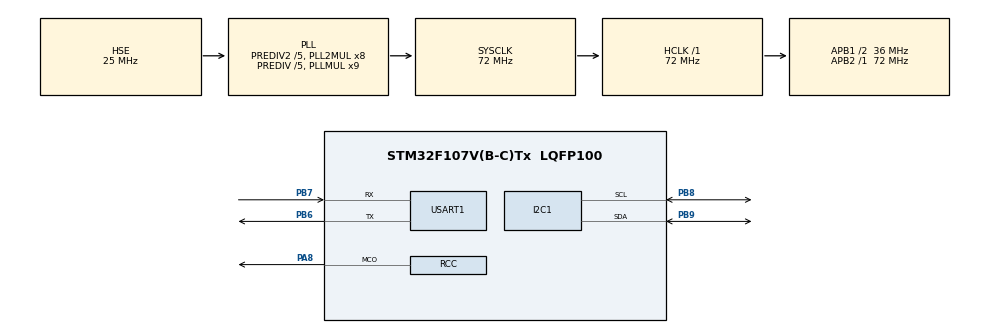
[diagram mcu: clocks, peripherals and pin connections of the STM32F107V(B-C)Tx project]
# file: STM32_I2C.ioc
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Mcu.Family=STM32F1
Mcu.Name=STM32F107V(B-C)Tx
Mcu.Package=LQFP100
NVIC.PriorityGroup=NVIC_PRIORITYGROUP_4
NVIC.USART1_IRQn=true\:0\:0\:false\:false\:true\:true\:true\:true
OSC_IN.Mode=HSE-External-Oscillator
OSC_IN.Signal=RCC_OSC_IN
OSC_OUT.Mode=HSE-External-Oscillator
OSC_OUT.Signal=RCC_OSC_OUT
PA13.Mode=Serial_Wire
PA13.Signal=SYS_JTMS-SWDIO
PA14.Mode=Serial_Wire
PA14.Signal=SYS_JTCK-SWCLK
PA8.GPIO_Speed=GPIO_SPEED_FREQ_MEDIUM
PA8.Mode=Clock-out
PA8.Signal=RCC_MCO
PB6.Mode=Asynchronous
PB6.Signal=USART1_TX
PB7.Mode=Asynchronous
PB7.Signal=USART1_RX
PB8.Mode=I2C
PB8.Signal=I2C1_SCL
PB9.Mode=I2C
PB9.Signal=I2C1_SDA
ProjectManager.HeapSize=0x200
ProjectManager.StackSize=0x400
ProjectManager.TargetToolchain=STM32CubeIDE
RCC.AHBFreq_Value=72000000
RCC.APB1CLKDivider=RCC_HCLK_DIV2
RCC.APB1Freq_Value=36000000
RCC.APB1TimFreq_Value=72000000
RCC.APB2Freq_Value=72000000
RCC.APB2TimFreq_Value=72000000
RCC.HCLKFreq_Value=72000000
RCC.HSEDivPLL=RCC_HSE_PREDIV_DIV5
RCC.HSE_VALUE=25000000
RCC.PLL3Mul=RCC_PLLI2S_MUL10
RCC.PLLMUL=RCC_PLL_MUL9
RCC.PLLSourceVirtual=RCC_PLLSOURCE_HSE
RCC.Prediv1Source=RCC_PREDIV1_SOURCE_PLL2
RCC.Prediv2=RCC_HSE_PREDIV2_DIV5
RCC.RCC_MCOSource=RCC_MCO1SOURCE_PLL3CLK
RCC.SYSCLKFreq_VALUE=72000000
RCC.SYSCLKSource=RCC_SYSCLKSOURCE_PLLCLK
RCC.USBFreq_Value=48000000
USART1.VirtualMode=VM_ASYNC
board=custom

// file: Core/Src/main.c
/* USER CODE BEGIN Header */
/**
  ******************************************************************************
  * @file           : main.c
  * @brief          : Main program body
  ******************************************************************************
  * @attention
  *
  * Copyright (c) 2024 STMicroelectronics.
  * All rights reserved.
  *
  * This software is licensed under terms that can be found in the LICENSE file
  * in the root directory of this software component.
  * If no LICENSE file comes with this software, it is provided AS-IS.
  *
  ******************************************************************************
  */
/* USER CODE END Header */
#include "main.h"

/* USER CODE BEGIN Includes */
#include <string.h>
#include <stdio.h>
#include <stdbool.h>
/* USER CODE END Includes */

I2C_HandleTypeDef hi2c1;

UART_HandleTypeDef huart1;

void SystemClock_Config(void);
static void MX_GPIO_Init(void);
static void MX_I2C1_Init(void);
static void MX_USART1_UART_Init(void);

/* USER CODE BEGIN 0 */

#define MSA311_ADDR 0x62 << 1 // Shifted left by 1 for 7-bit address
#define MSA311_REG_DEVICE_ID 0x01 //register for device ID
#define MSA311_DEVICE_ID 0x13 //device ID for MSA311
// MSA311 registers

// MSA311 registers
#define MSA311_REG_X_L 0x02
#define MSA311_REG_Y_L 0x04
#define MSA311_REG_Z_L 0x06
#define MSA311_REG_CTRL1 0x10
#define MSA311_REG_CTRL2 0x11

int __io_putchar (int ch)
{
	HAL_UART_Transmit(&huart1, (const uint8_t*)&ch, 1, 10);
	return ch;
}

// Function to write to a register
void MSA311_WriteRegister(uint8_t reg, uint8_t value) {
    uint8_t data[2] = {reg, value};
    HAL_I2C_Master_Transmit(&hi2c1, MSA311_ADDR, data, 2, HAL_MAX_DELAY);
}

// Function to read from a register
uint8_t MSA311_ReadRegister(uint8_t reg) {
    uint8_t value;
    HAL_I2C_Master_Transmit(&hi2c1, MSA311_ADDR, &reg, 1, HAL_MAX_DELAY);
    HAL_I2C_Master_Receive(&hi2c1, MSA311_ADDR, &value, 1, HAL_MAX_DELAY);
    return value;
}

// Function to read 16-bit register
int16_t MSA311_Read16BitRegister(uint8_t regL) {
    uint8_t data[2];
    HAL_I2C_Master_Transmit(&hi2c1, MSA311_ADDR, &regL, 1, HAL_MAX_DELAY);
    HAL_I2C_Master_Receive(&hi2c1, MSA311_ADDR, data, 2, HAL_MAX_DELAY);
    return (data[1] << 8) | data[0];
}

// Function to check device ID
bool MSA311_CheckDeviceID(void)
{
    uint8_t deviceID = MSA311_ReadRegister(MSA311_REG_DEVICE_ID);
    return (deviceID == MSA311_DEVICE_ID);
}

// Function to initialize MSA311
void MSA311_Init(void) {
	if (!MSA311_CheckDeviceID())
	{
		printf("\nI2C is Not Connected");
		return;
	}
	else
	{
		MSA311_WriteRegister(MSA311_REG_CTRL2, 0x00); // Normal mode
		MSA311_WriteRegister(MSA311_REG_CTRL1, 0x03); // 100 Hz output data rate
	}
}

// Function to get accelerometer data
void MSA311_GetAccelData(float *accelX, float *accelY, float *accelZ) {
    int16_t rawX = MSA311_Read16BitRegister(MSA311_REG_X_L);
    int16_t rawY = MSA311_Read16BitRegister(MSA311_REG_Y_L);
    int16_t rawZ = MSA311_Read16BitRegister(MSA311_REG_Z_L);

    // Convert to g (assuming ±2g range and 14-bit resolution)
    *accelX = rawX * 2.0 / 8192.0;
    *accelY = rawY * 2.0 / 8192.0;
    *accelZ = rawZ * 2.0 / 8192.0;
}
float accelX, accelY, accelZ;

/* USER CODE END 0 */

int main(void)
{

  /* MCU Configuration--------------------------------------------------------*/

  /* Reset of all peripherals, Initializes the Flash interface and the Systick. */
  HAL_Init();

  /* Configure the system clock */
  SystemClock_Config();

  /* Initialize all configured peripherals */
  MX_GPIO_Init();
  MX_I2C1_Init();
  MX_USART1_UART_Init();
  /* USER CODE BEGIN 2 */

  MSA311_Init();
  /* USER CODE END 2 */

  /* Infinite loop */
  /* USER CODE BEGIN WHILE */
  while (1)
  {
	MSA311_GetAccelData(&accelX, &accelY, &accelZ);

	printf("X: %.2f g, Y: %.2f g, Z: %.2f g\n", accelX, accelY, accelZ);
	// Add some delay
	HAL_Delay(500);
    /* USER CODE END WHILE */

  }
}

void SystemClock_Config(void)
{
  RCC_OscInitTypeDef RCC_OscInitStruct = {0};
  RCC_ClkInitTypeDef RCC_ClkInitStruct = {0};

  /** Initializes the RCC Oscillators according to the specified parameters
  * in the RCC_OscInitTypeDef structure.
  */
  RCC_OscInitStruct.OscillatorType = RCC_OSCILLATORTYPE_HSE;
  RCC_OscInitStruct.HSEState = RCC_HSE_ON;
  RCC_OscInitStruct.HSEPredivValue = RCC_HSE_PREDIV_DIV5;
  RCC_OscInitStruct.HSIState = RCC_HSI_ON;
  RCC_OscInitStruct.Prediv1Source = RCC_PREDIV1_SOURCE_PLL2;
  RCC_OscInitStruct.PLL.PLLState = RCC_PLL_ON;
  RCC_OscInitStruct.PLL.PLLSource = RCC_PLLSOURCE_HSE;
  RCC_OscInitStruct.PLL.PLLMUL = RCC_PLL_MUL9;
  RCC_OscInitStruct.PLL2.PLL2State = RCC_PLL2_ON;
  RCC_OscInitStruct.PLL2.PLL2MUL = RCC_PLL2_MUL8;
  RCC_OscInitStruct.PLL2.HSEPrediv2Value = RCC_HSE_PREDIV2_DIV5;
  if (HAL_RCC_OscConfig(&RCC_OscInitStruct) != HAL_OK)
  {
    Error_Handler();
  }

  /** Initializes the CPU, AHB and APB buses clocks
  */
  RCC_ClkInitStruct.ClockType = RCC_CLOCKTYPE_HCLK|RCC_CLOCKTYPE_SYSCLK
                              |RCC_CLOCKTYPE_PCLK1|RCC_CLOCKTYPE_PCLK2;
  RCC_ClkInitStruct.SYSCLKSource = RCC_SYSCLKSOURCE_PLLCLK;
  RCC_ClkInitStruct.AHBCLKDivider = RCC_SYSCLK_DIV1;
  RCC_ClkInitStruct.APB1CLKDivider = RCC_HCLK_DIV2;
  RCC_ClkInitStruct.APB2CLKDivider = RCC_HCLK_DIV1;

  if (HAL_RCC_ClockConfig(&RCC_ClkInitStruct, FLASH_LATENCY_2) != HAL_OK)
  {
    Error_Handler();
  }
  HAL_RCC_MCOConfig(RCC_MCO, RCC_MCO1SOURCE_PLL3CLK, RCC_MCODIV_1);

  /** Configure the Systick interrupt time
  */
  __HAL_RCC_HSE_PREDIV2_CONFIG(RCC_HSE_PREDIV2_DIV5);

  /** Configure the Systick interrupt time
  */
  __HAL_RCC_PLLI2S_CONFIG(RCC_PLLI2S_MUL10);

  /** Configure the Systick interrupt time
  */
  __HAL_RCC_PLLI2S_ENABLE();
}

static void MX_I2C1_Init(void)
{

  hi2c1.Instance = I2C1;
  hi2c1.Init.ClockSpeed = 100000;
  hi2c1.Init.DutyCycle = I2C_DUTYCYCLE_2;
  hi2c1.Init.OwnAddress1 = 0;
  hi2c1.Init.AddressingMode = I2C_ADDRESSINGMODE_7BIT;
  hi2c1.Init.DualAddressMode = I2C_DUALADDRESS_DISABLE;
  hi2c1.Init.OwnAddress2 = 0;
  hi2c1.Init.GeneralCallMode = I2C_GENERALCALL_DISABLE;
  hi2c1.Init.NoStretchMode = I2C_NOSTRETCH_DISABLE;
  if (HAL_I2C_Init(&hi2c1) != HAL_OK)
  {
    Error_Handler();
  }

}

static void MX_USART1_UART_Init(void)
{

  huart1.Instance = USART1;
  huart1.Init.BaudRate = 115200;
  huart1.Init.WordLength = UART_WORDLENGTH_8B;
  huart1.Init.StopBits = UART_STOPBITS_1;
  huart1.Init.Parity = UART_PARITY_NONE;
  huart1.Init.Mode = UART_MODE_TX_RX;
  huart1.Init.HwFlowCtl = UART_HWCONTROL_NONE;
  huart1.Init.OverSampling = UART_OVERSAMPLING_16;
  if (HAL_UART_Init(&huart1) != HAL_OK)
  {
    Error_Handler();
  }

}

static void MX_GPIO_Init(void)
{
  GPIO_InitTypeDef GPIO_InitStruct = {0};

  /* GPIO Ports Clock Enable */
  __HAL_RCC_GPIOA_CLK_ENABLE();
  __HAL_RCC_GPIOB_CLK_ENABLE();

  /*Configure GPIO pin : PA8 */
  GPIO_InitStruct.Pin = GPIO_PIN_8;
  GPIO_InitStruct.Mode = GPIO_MODE_AF_PP;
  GPIO_InitStruct.Speed = GPIO_SPEED_FREQ_MEDIUM;
  HAL_GPIO_Init(GPIOA, &GPIO_InitStruct);

}

void Error_Handler(void)
{
  __disable_irq();
  while (1)
  {
  }
}
